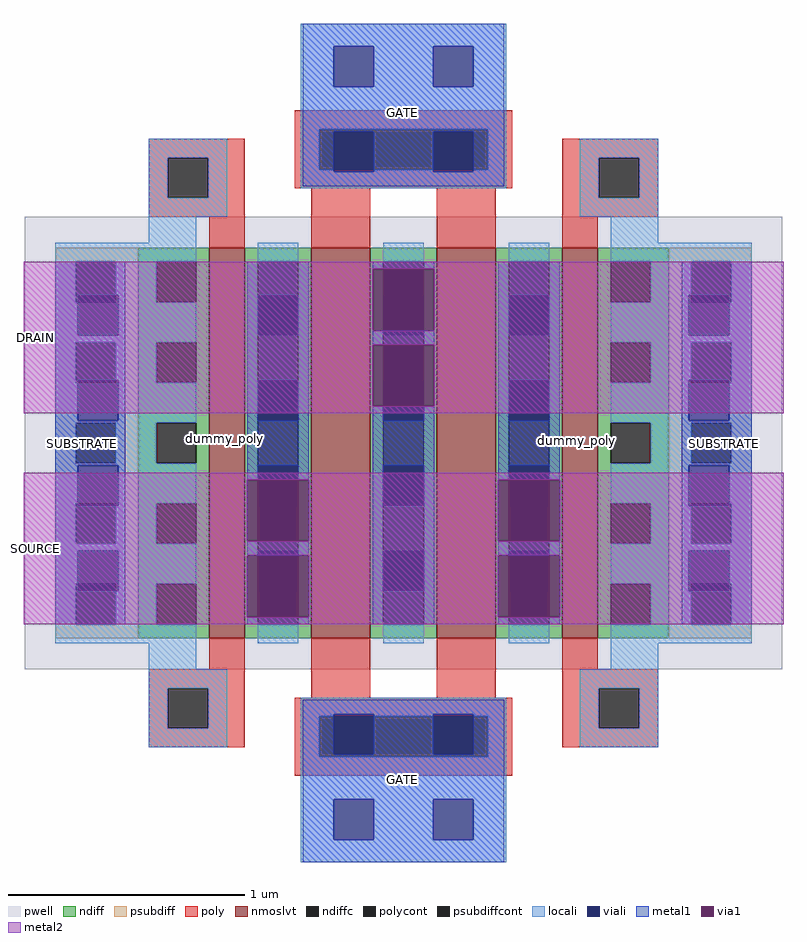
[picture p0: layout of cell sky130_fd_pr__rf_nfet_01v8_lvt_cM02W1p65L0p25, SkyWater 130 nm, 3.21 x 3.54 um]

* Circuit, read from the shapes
.subckt sky130_fd_pr__rf_nfet_01v8_lvt_cM02W1p65L0p25 GATE SUBSTRATE SOURCE DRAIN
XM1 SOURCE SUBSTRATE SUBSTRATE SUBSTRATE sky130_fd_pr__nfet_01v8_lvt w=1.65 l=0.15 m=2
XM2 DRAIN GATE SOURCE SUBSTRATE sky130_fd_pr__nfet_01v8_lvt w=1.65 l=0.25 m=2
.ends

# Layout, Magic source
magic
tech sky130A
magscale 1 2
<< pwell >>
rect 15 163 655 545
<< nmoslvt >>
rect 171 189 201 519
rect 257 189 307 519
rect 363 189 413 519
rect 469 189 499 519
<< ndiff >>
rect 111 507 171 519
rect 111 473 126 507
rect 160 473 171 507
rect 111 439 171 473
rect 111 405 126 439
rect 160 405 171 439
rect 111 371 171 405
rect 111 337 126 371
rect 160 337 171 371
rect 111 303 171 337
rect 111 269 126 303
rect 160 269 171 303
rect 111 235 171 269
rect 111 201 126 235
rect 160 201 171 235
rect 111 189 171 201
rect 201 507 257 519
rect 201 201 212 507
rect 246 201 257 507
rect 201 189 257 201
rect 307 507 363 519
rect 307 201 318 507
rect 352 201 363 507
rect 307 189 363 201
rect 413 507 469 519
rect 413 201 424 507
rect 458 201 469 507
rect 413 189 469 201
rect 499 507 559 519
rect 499 473 510 507
rect 544 473 559 507
rect 499 439 559 473
rect 499 405 510 439
rect 544 405 559 439
rect 499 371 559 405
rect 499 337 510 371
rect 544 337 559 371
rect 499 303 559 337
rect 499 269 510 303
rect 544 269 559 303
rect 499 235 559 269
rect 499 201 510 235
rect 544 201 559 235
rect 499 189 559 201
<< ndiffc >>
rect 126 473 160 507
rect 126 405 160 439
rect 126 337 160 371
rect 126 269 160 303
rect 126 201 160 235
rect 212 201 246 507
rect 318 201 352 507
rect 424 201 458 507
rect 510 473 544 507
rect 510 405 544 439
rect 510 337 544 371
rect 510 269 544 303
rect 510 201 544 235
<< psubdiff >>
rect 41 507 111 519
rect 41 473 58 507
rect 92 473 111 507
rect 41 439 111 473
rect 41 405 58 439
rect 92 405 111 439
rect 41 371 111 405
rect 41 337 58 371
rect 92 337 111 371
rect 41 303 111 337
rect 41 269 58 303
rect 92 269 111 303
rect 41 235 111 269
rect 41 201 58 235
rect 92 201 111 235
rect 41 189 111 201
rect 559 507 629 519
rect 559 473 578 507
rect 612 473 629 507
rect 559 439 629 473
rect 559 405 578 439
rect 612 405 629 439
rect 559 371 629 405
rect 559 337 578 371
rect 612 337 629 371
rect 559 303 629 337
rect 559 269 578 303
rect 612 269 629 303
rect 559 235 629 269
rect 559 201 578 235
rect 612 201 629 235
rect 559 189 629 201
<< psubdiffcont >>
rect 58 473 92 507
rect 58 405 92 439
rect 58 337 92 371
rect 58 269 92 303
rect 58 201 92 235
rect 578 473 612 507
rect 578 405 612 439
rect 578 337 612 371
rect 578 269 612 303
rect 578 201 612 235
<< poly >>
rect 243 619 427 635
rect 120 595 201 611
rect 120 561 136 595
rect 170 561 201 595
rect 243 585 264 619
rect 406 585 427 619
rect 243 569 427 585
rect 469 595 550 611
rect 120 545 201 561
rect 171 519 201 545
rect 257 519 307 569
rect 363 519 413 569
rect 469 561 500 595
rect 534 561 550 595
rect 469 545 550 561
rect 469 519 499 545
rect 171 163 201 189
rect 120 147 201 163
rect 120 113 136 147
rect 170 113 201 147
rect 257 139 307 189
rect 363 139 413 189
rect 469 163 499 189
rect 469 147 550 163
rect 120 97 201 113
rect 243 123 427 139
rect 243 89 264 123
rect 406 89 427 123
rect 469 113 500 147
rect 534 113 550 147
rect 469 97 550 113
rect 243 73 427 89
<< polycont >>
rect 136 561 170 595
rect 264 585 406 619
rect 500 561 534 595
rect 136 113 170 147
rect 264 89 406 123
rect 500 113 534 147
<< locali >>
rect 248 689 422 708
rect 248 655 276 689
rect 310 655 360 689
rect 394 655 422 689
rect 248 619 422 655
rect 120 595 186 611
rect 120 561 136 595
rect 170 561 186 595
rect 248 585 264 619
rect 406 585 422 619
rect 248 583 276 585
rect 310 583 360 585
rect 394 583 422 585
rect 248 569 422 583
rect 484 595 550 611
rect 120 545 186 561
rect 484 561 500 595
rect 534 561 550 595
rect 484 545 550 561
rect 120 523 160 545
rect 510 523 550 545
rect 41 507 160 523
rect 41 473 58 507
rect 92 479 126 507
rect 94 473 126 479
rect 41 445 60 473
rect 94 445 160 473
rect 41 439 160 445
rect 41 405 58 439
rect 92 407 126 439
rect 94 405 126 407
rect 41 373 60 405
rect 94 373 160 405
rect 41 371 160 373
rect 41 337 58 371
rect 92 337 126 371
rect 41 335 160 337
rect 41 303 60 335
rect 94 303 160 335
rect 41 269 58 303
rect 94 301 126 303
rect 92 269 126 301
rect 41 263 160 269
rect 41 235 60 263
rect 94 235 160 263
rect 41 201 58 235
rect 94 229 126 235
rect 92 201 126 229
rect 41 185 160 201
rect 212 507 246 523
rect 212 185 246 201
rect 318 507 352 523
rect 318 185 352 201
rect 424 507 458 523
rect 424 185 458 201
rect 510 507 629 523
rect 544 479 578 507
rect 544 473 576 479
rect 612 473 629 507
rect 510 445 576 473
rect 610 445 629 473
rect 510 439 629 445
rect 544 407 578 439
rect 544 405 576 407
rect 612 405 629 439
rect 510 373 576 405
rect 610 373 629 405
rect 510 371 629 373
rect 544 337 578 371
rect 612 337 629 371
rect 510 335 629 337
rect 510 303 576 335
rect 610 303 629 335
rect 544 301 576 303
rect 544 269 578 301
rect 612 269 629 303
rect 510 263 629 269
rect 510 235 576 263
rect 610 235 629 263
rect 544 229 576 235
rect 544 201 578 229
rect 612 201 629 235
rect 510 185 629 201
rect 120 163 160 185
rect 510 163 550 185
rect 120 147 186 163
rect 120 113 136 147
rect 170 113 186 147
rect 484 147 550 163
rect 120 97 186 113
rect 248 125 422 139
rect 248 123 276 125
rect 310 123 360 125
rect 394 123 422 125
rect 248 89 264 123
rect 406 89 422 123
rect 484 113 500 147
rect 534 113 550 147
rect 484 97 550 113
rect 248 53 422 89
rect 248 19 276 53
rect 310 19 360 53
rect 394 19 422 53
rect 248 0 422 19
<< viali >>
rect 276 655 310 689
rect 360 655 394 689
rect 276 585 310 617
rect 360 585 394 617
rect 276 583 310 585
rect 360 583 394 585
rect 60 473 92 479
rect 92 473 94 479
rect 60 445 94 473
rect 60 405 92 407
rect 92 405 94 407
rect 60 373 94 405
rect 60 303 94 335
rect 60 301 92 303
rect 92 301 94 303
rect 60 235 94 263
rect 60 229 92 235
rect 92 229 94 235
rect 212 445 246 479
rect 212 373 246 407
rect 212 301 246 335
rect 212 229 246 263
rect 318 445 352 479
rect 318 373 352 407
rect 318 301 352 335
rect 318 229 352 263
rect 424 445 458 479
rect 424 373 458 407
rect 424 301 458 335
rect 424 229 458 263
rect 576 473 578 479
rect 578 473 610 479
rect 576 445 610 473
rect 576 405 578 407
rect 578 405 610 407
rect 576 373 610 405
rect 576 303 610 335
rect 576 301 578 303
rect 578 301 610 303
rect 576 235 610 263
rect 576 229 578 235
rect 578 229 610 235
rect 276 123 310 125
rect 360 123 394 125
rect 276 91 310 123
rect 360 91 394 123
rect 276 19 310 53
rect 360 19 394 53
<< metal1 >>
rect 250 689 420 708
rect 250 655 276 689
rect 310 655 360 689
rect 394 655 420 689
rect 250 617 420 655
rect 250 583 276 617
rect 310 583 360 617
rect 394 583 420 617
rect 250 571 420 583
rect 41 479 100 507
rect 41 445 60 479
rect 94 445 100 479
rect 41 407 100 445
rect 41 373 60 407
rect 94 373 100 407
rect 41 335 100 373
rect 41 301 60 335
rect 94 301 100 335
rect 41 263 100 301
rect 41 229 60 263
rect 94 229 100 263
rect 41 201 100 229
rect 203 479 255 507
rect 203 445 212 479
rect 246 445 255 479
rect 203 407 255 445
rect 203 373 212 407
rect 246 373 255 407
rect 203 335 255 373
rect 203 323 212 335
rect 246 323 255 335
rect 203 263 255 271
rect 203 259 212 263
rect 246 259 255 263
rect 203 201 255 207
rect 309 501 361 507
rect 309 445 318 449
rect 352 445 361 449
rect 309 437 361 445
rect 309 373 318 385
rect 352 373 361 385
rect 309 335 361 373
rect 309 301 318 335
rect 352 301 361 335
rect 309 263 361 301
rect 309 229 318 263
rect 352 229 361 263
rect 309 201 361 229
rect 415 479 467 507
rect 415 445 424 479
rect 458 445 467 479
rect 415 407 467 445
rect 415 373 424 407
rect 458 373 467 407
rect 415 335 467 373
rect 415 323 424 335
rect 458 323 467 335
rect 415 263 467 271
rect 415 259 424 263
rect 458 259 467 263
rect 415 201 467 207
rect 570 479 629 507
rect 570 445 576 479
rect 610 445 629 479
rect 570 407 629 445
rect 570 373 576 407
rect 610 373 629 407
rect 570 335 629 373
rect 570 301 576 335
rect 610 301 629 335
rect 570 263 629 301
rect 570 229 576 263
rect 610 229 629 263
rect 570 201 629 229
rect 250 125 420 137
rect 250 91 276 125
rect 310 91 360 125
rect 394 91 420 125
rect 250 53 420 91
rect 250 19 276 53
rect 310 19 360 53
rect 394 19 420 53
rect 250 0 420 19
<< via1 >>
rect 203 301 212 323
rect 212 301 246 323
rect 246 301 255 323
rect 203 271 255 301
rect 203 229 212 259
rect 212 229 246 259
rect 246 229 255 259
rect 203 207 255 229
rect 309 479 361 501
rect 309 449 318 479
rect 318 449 352 479
rect 352 449 361 479
rect 309 407 361 437
rect 309 385 318 407
rect 318 385 352 407
rect 352 385 361 407
rect 415 301 424 323
rect 424 301 458 323
rect 458 301 467 323
rect 415 271 467 301
rect 415 229 424 259
rect 424 229 458 259
rect 458 229 467 259
rect 415 207 467 229
<< metal2 >>
rect 14 501 656 507
rect 14 449 309 501
rect 361 449 656 501
rect 14 437 656 449
rect 14 385 309 437
rect 361 385 656 437
rect 14 379 656 385
rect 14 323 656 329
rect 14 271 203 323
rect 255 271 415 323
rect 467 271 656 323
rect 14 259 656 271
rect 14 207 203 259
rect 255 207 415 259
rect 467 207 656 259
rect 14 201 656 207
<< labels >>
flabel comment s 184 358 184 358 0 FreeSans 180 90 0 0 dummy_poly
flabel comment s 481 356 481 356 0 FreeSans 180 90 0 0 dummy_poly
flabel metal1 s 255 608 414 659 0 FreeSans 200 0 0 0 GATE
port 1 nsew
flabel metal1 s 255 44 414 95 0 FreeSans 200 0 0 0 GATE
port 1 nsew
flabel metal1 s 41 339 87 369 0 FreeSans 200 90 0 0 SUBSTRATE
port 2 nsew
flabel metal1 s 583 339 629 369 0 FreeSans 200 90 0 0 SUBSTRATE
port 2 nsew
flabel metal2 s 14 201 35 329 7 FreeSans 300 180 0 0 SOURCE
port 3 nsew
flabel metal2 s 14 379 35 507 7 FreeSans 300 180 0 0 DRAIN
port 4 nsew
<< properties >>
string GDS_FILE $PDKPATH/libs.ref/sky130_fd_pr/gds/sky130_fd_pr.gds
string GDS_END 6592980
string GDS_START 6583028
<< end >>
